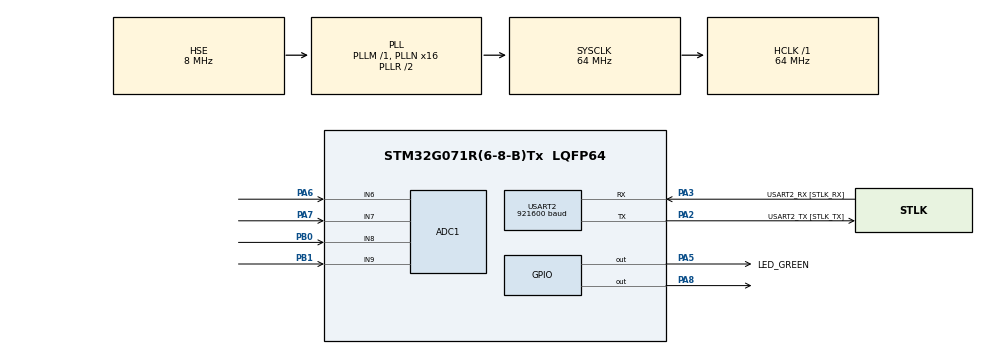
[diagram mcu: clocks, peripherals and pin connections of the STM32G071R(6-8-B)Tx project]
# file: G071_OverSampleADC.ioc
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ADC1.Channel-11\#ChannelRegularConversion=ADC_CHANNEL_9
ADC1.Channel-7\#ChannelRegularConversion=ADC_CHANNEL_6
ADC1.Channel-8\#ChannelRegularConversion=ADC_CHANNEL_7
ADC1.Channel-9\#ChannelRegularConversion=ADC_CHANNEL_8
ADC1.ClockPrescaler=ADC_CLOCK_SYNC_PCLK_DIV2
ADC1.ContinuousConvMode=ENABLE
ADC1.DMAContinuousRequests=ENABLE
ADC1.ExternalTrigConv=ADC_EXTERNALTRIG_T6_TRGO
ADC1.NbrOfConversion=4
ADC1.NbrOfConversionFlag=1
ADC1.Overrun=ADC_OVR_DATA_OVERWRITTEN
ADC1.OversamplingMode=ENABLE
ADC1.Rank-11\#ChannelRegularConversion=4
ADC1.Rank-7\#ChannelRegularConversion=1
ADC1.Rank-8\#ChannelRegularConversion=2
ADC1.Rank-9\#ChannelRegularConversion=3
ADC1.Ratio=ADC_OVERSAMPLING_RATIO_16
ADC1.SamplingTime-11\#ChannelRegularConversion=ADC_SAMPLINGTIME_COMMON_1
ADC1.SamplingTime-7\#ChannelRegularConversion=ADC_SAMPLINGTIME_COMMON_1
ADC1.SamplingTime-8\#ChannelRegularConversion=ADC_SAMPLINGTIME_COMMON_1
ADC1.SamplingTime-9\#ChannelRegularConversion=ADC_SAMPLINGTIME_COMMON_1
ADC1.SamplingTimeCommon1=ADC_SAMPLETIME_12CYCLES_5
ADC1.SamplingTimeCommon2=ADC_SAMPLETIME_12CYCLES_5
ADC1.Sequencer=FULLY_CONFIGURABLE
ADC1.master=1
Dma.ADC1.1.Direction=DMA_PERIPH_TO_MEMORY
Dma.ADC1.1.EventEnable=DISABLE
Dma.ADC1.1.Instance=DMA1_Channel2
Dma.ADC1.1.MemDataAlignment=DMA_MDATAALIGN_HALFWORD
Dma.ADC1.1.MemInc=DMA_MINC_ENABLE
Dma.ADC1.1.Mode=DMA_NORMAL
Dma.ADC1.1.PeriphDataAlignment=DMA_PDATAALIGN_HALFWORD
Dma.ADC1.1.PeriphInc=DMA_PINC_DISABLE
Dma.ADC1.1.Polarity=HAL_DMAMUX_REQ_GEN_RISING
Dma.ADC1.1.Priority=DMA_PRIORITY_LOW
Dma.ADC1.1.RequestNumber=1
Dma.ADC1.1.SignalID=NONE
Dma.ADC1.1.SyncEnable=DISABLE
Dma.ADC1.1.SyncPolarity=HAL_DMAMUX_SYNC_NO_EVENT
Dma.ADC1.1.SyncRequestNumber=1
Dma.ADC1.1.SyncSignalID=NONE
Dma.Request0=USART2_TX
Dma.Request1=ADC1
Dma.USART2_TX.0.Direction=DMA_MEMORY_TO_PERIPH
Dma.USART2_TX.0.EventEnable=DISABLE
Dma.USART2_TX.0.Instance=DMA1_Channel1
Dma.USART2_TX.0.MemDataAlignment=DMA_MDATAALIGN_BYTE
Dma.USART2_TX.0.MemInc=DMA_MINC_ENABLE
Dma.USART2_TX.0.Mode=DMA_NORMAL
Dma.USART2_TX.0.PeriphDataAlignment=DMA_PDATAALIGN_BYTE
Dma.USART2_TX.0.PeriphInc=DMA_PINC_DISABLE
Dma.USART2_TX.0.Polarity=HAL_DMAMUX_REQ_GEN_RISING
Dma.USART2_TX.0.Priority=DMA_PRIORITY_LOW
Dma.USART2_TX.0.RequestNumber=1
Dma.USART2_TX.0.SignalID=NONE
Dma.USART2_TX.0.SyncEnable=DISABLE
Dma.USART2_TX.0.SyncPolarity=HAL_DMAMUX_SYNC_NO_EVENT
Dma.USART2_TX.0.SyncRequestNumber=1
Dma.USART2_TX.0.SyncSignalID=NONE
Mcu.Family=STM32G0
Mcu.Name=STM32G071R(6-8-B)Tx
Mcu.Package=LQFP64
NVIC.ADC1_COMP_IRQn=true\:0\:0\:false\:false\:true\:true\:true
NVIC.DMA1_Channel1_IRQn=true\:0\:0\:false\:false\:true\:false\:true
NVIC.DMA1_Channel2_3_IRQn=true\:0\:0\:false\:false\:true\:false\:true
NVIC.USART2_IRQn=true\:0\:0\:false\:false\:true\:true\:true
PA13.GPIO_Label=TMS
PA13.Mode=Serial_Wire
PA13.Signal=SYS_SWDIO
PA14-BOOT0.GPIO_Label=TCK
PA14-BOOT0.Mode=Serial_Wire
PA14-BOOT0.Signal=SYS_SWCLK
PA2.GPIO_Label=USART2_TX [STLK_TX]
PA2.GPIO_PuPd=GPIO_PULLUP
PA2.Mode=Asynchronous
PA2.Signal=USART2_TX
PA3.GPIO_Label=USART2_RX [STLK_RX]
PA3.GPIO_PuPd=GPIO_PULLUP
PA3.Mode=Asynchronous
PA3.Signal=USART2_RX
PA5.GPIO_Label=LED_GREEN
PA5.GPIO_Speed=GPIO_SPEED_FREQ_HIGH
PA5.Signal=GPIO_Output
PA6.Mode=IN6
PA6.Signal=ADC1_IN6
PA7.Mode=IN7
PA7.Signal=ADC1_IN7
PA8.Signal=GPIO_Output
PB0.Mode=IN8
PB0.Signal=ADC1_IN8
PB1.Mode=IN9
PB1.Signal=ADC1_IN9
PC13.Mode=SYS_WakeUp1
PC13.Signal=SYS_WKUP2
PC14-OSC32_IN\ (PC14).Mode=LSE-External-Oscillator
PC14-OSC32_IN\ (PC14).Signal=RCC_OSC32_IN
PC15-OSC32_OUT\ (PC15).Mode=LSE-External-Oscillator
PC15-OSC32_OUT\ (PC15).Signal=RCC_OSC32_OUT
PF0-OSC_IN\ (PF0).GPIO_Label=MCO
PF0-OSC_IN\ (PF0).Mode=HSE-External-Clock-Source
PF0-OSC_IN\ (PF0).Signal=RCC_OSC_IN
ProjectManager.HeapSize=0x200
ProjectManager.StackSize=0x400
ProjectManager.TargetToolchain=STM32CubeIDE
RCC.ADCFreq_Value=64000000
RCC.AHBFreq_Value=64000000
RCC.CortexFreq_Value=64000000
RCC.EXTERNAL_CLOCK_VALUE=12288000
RCC.HCLKFreq_Value=64000000
RCC.HSE_VALUE=8000000
RCC.HSI_VALUE=16000000
RCC.PLLN=16
RCC.PLLSourceVirtual=RCC_PLLSOURCE_HSE
RCC.SYSCLKFreq_VALUE=64000000
RCC.SYSCLKSource=RCC_SYSCLKSOURCE_PLLCLK
RCC.VCOOutputFreq_Value=128000000
TIM6.Period=999
TIM6.Prescaler=63
TIM6.TIM_MasterOutputTrigger=TIM_TRGO_UPDATE
USART2.BaudRate=921600
USART2.Mode=MODE_TX
USART2.VirtualMode-Asynchronous=VM_ASYNC
VP_SYS_VS_DBSignals.Mode=DisableDeadBatterySignals
VP_TIM6_VS_ClockSourceINT.Mode=Enable_Timer
board=NUCLEO-G071RB

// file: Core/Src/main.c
/* USER CODE BEGIN Header */
/**
  ******************************************************************************
  * @file           : main.c
  * @brief          : Main program body
  ******************************************************************************
  * @attention
  *
  * <h2><center>&copy; Copyright (c) 2020 STMicroelectronics.
  * All rights reserved.</center></h2>
  *
  * This software component is licensed by ST under BSD 3-Clause license,
  * the "License"; You may not use this file except in compliance with the
  * License. You may obtain a copy of the License at:
  *                        opensource.org/licenses/BSD-3-Clause
  *
  ******************************************************************************
  */
/* USER CODE END Header */

#include "main.h"

/* USER CODE BEGIN PM */
#define ADC_MAX_CH		4
#define END_LINE_CODE	0x12
#define TX_DATA_SIZE	(ADC_MAX_CH*4+1)
/* USER CODE END PM */

ADC_HandleTypeDef hadc1;
DMA_HandleTypeDef hdma_adc1;

TIM_HandleTypeDef htim6;

UART_HandleTypeDef huart2;
DMA_HandleTypeDef hdma_usart2_tx;

/* USER CODE BEGIN PV */
uint16_t adc_data[ADC_MAX_CH];
uint8_t tx_data[TX_DATA_SIZE] = "test";
/* USER CODE END PV */

void SystemClock_Config(void);
static void MX_GPIO_Init(void);
static void MX_DMA_Init(void);
static void MX_USART2_UART_Init(void);
static void MX_ADC1_Init(void);
static void MX_TIM6_Init(void);

int main(void)
{

  /* MCU Configuration--------------------------------------------------------*/

  /* Reset of all peripherals, Initializes the Flash interface and the Systick. */
  HAL_Init();

  /* Configure the system clock */
  SystemClock_Config();

  /* Initialize all configured peripherals */
  MX_GPIO_Init();
  MX_DMA_Init();
  MX_USART2_UART_Init();
  MX_ADC1_Init();
  MX_TIM6_Init();
  /* USER CODE BEGIN 2 */

  HAL_ADCEx_Calibration_Start(&hadc1);
  HAL_ADC_Start_DMA(&hadc1,(uint32_t *)adc_data,sizeof(adc_data)/sizeof(uint16_t));

  tx_data[TX_DATA_SIZE-1] = 0x12;
  HAL_TIM_Base_Start_IT(&htim6);
  /* USER CODE END 2 */

  /* Infinite loop */
  while (1)
  {

  }
}

void SystemClock_Config(void)
{
  RCC_OscInitTypeDef RCC_OscInitStruct = {0};
  RCC_ClkInitTypeDef RCC_ClkInitStruct = {0};
  RCC_PeriphCLKInitTypeDef PeriphClkInit = {0};

  /** Configure the main internal regulator output voltage
  */
  HAL_PWREx_ControlVoltageScaling(PWR_REGULATOR_VOLTAGE_SCALE1);
  /** Initializes the CPU, AHB and APB busses clocks
  */
  RCC_OscInitStruct.OscillatorType = RCC_OSCILLATORTYPE_HSE;
  RCC_OscInitStruct.HSEState = RCC_HSE_BYPASS;
  RCC_OscInitStruct.PLL.PLLState = RCC_PLL_ON;
  RCC_OscInitStruct.PLL.PLLSource = RCC_PLLSOURCE_HSE;
  RCC_OscInitStruct.PLL.PLLM = RCC_PLLM_DIV1;
  RCC_OscInitStruct.PLL.PLLN = 16;
  RCC_OscInitStruct.PLL.PLLP = RCC_PLLP_DIV2;
  RCC_OscInitStruct.PLL.PLLQ = RCC_PLLQ_DIV2;
  RCC_OscInitStruct.PLL.PLLR = RCC_PLLR_DIV2;
  if (HAL_RCC_OscConfig(&RCC_OscInitStruct) != HAL_OK)
  {
    Error_Handler();
  }
  /** Initializes the CPU, AHB and APB busses clocks
  */
  RCC_ClkInitStruct.ClockType = RCC_CLOCKTYPE_HCLK|RCC_CLOCKTYPE_SYSCLK
                              |RCC_CLOCKTYPE_PCLK1;
  RCC_ClkInitStruct.SYSCLKSource = RCC_SYSCLKSOURCE_PLLCLK;
  RCC_ClkInitStruct.AHBCLKDivider = RCC_SYSCLK_DIV1;
  RCC_ClkInitStruct.APB1CLKDivider = RCC_HCLK_DIV1;

  if (HAL_RCC_ClockConfig(&RCC_ClkInitStruct, FLASH_LATENCY_2) != HAL_OK)
  {
    Error_Handler();
  }
  /** Initializes the peripherals clocks
  */
  PeriphClkInit.PeriphClockSelection = RCC_PERIPHCLK_USART2|RCC_PERIPHCLK_ADC;
  PeriphClkInit.Usart2ClockSelection = RCC_USART2CLKSOURCE_PCLK1;
  PeriphClkInit.AdcClockSelection = RCC_ADCCLKSOURCE_SYSCLK;
  if (HAL_RCCEx_PeriphCLKConfig(&PeriphClkInit) != HAL_OK)
  {
    Error_Handler();
  }
}

static void MX_ADC1_Init(void)
{

  ADC_AnalogWDGConfTypeDef AnalogWDGConfig = {0};
  ADC_ChannelConfTypeDef sConfig = {0};

  /** Configure the global features of the ADC (Clock, Resolution, Data Alignment and number of conversion)
  */
  hadc1.Instance = ADC1;
  hadc1.Init.ClockPrescaler = ADC_CLOCK_SYNC_PCLK_DIV2;
  hadc1.Init.Resolution = ADC_RESOLUTION_12B;
  hadc1.Init.DataAlign = ADC_DATAALIGN_RIGHT;
  hadc1.Init.ScanConvMode = ADC_SCAN_ENABLE;
  hadc1.Init.EOCSelection = ADC_EOC_SINGLE_CONV;
  hadc1.Init.LowPowerAutoWait = DISABLE;
  hadc1.Init.LowPowerAutoPowerOff = DISABLE;
  hadc1.Init.ContinuousConvMode = ENABLE;
  hadc1.Init.NbrOfConversion = 4;
  hadc1.Init.DiscontinuousConvMode = DISABLE;
  hadc1.Init.ExternalTrigConv = ADC_EXTERNALTRIG_T6_TRGO;
  hadc1.Init.ExternalTrigConvEdge = ADC_EXTERNALTRIGCONVEDGE_RISING;
  hadc1.Init.DMAContinuousRequests = ENABLE;
  hadc1.Init.Overrun = ADC_OVR_DATA_OVERWRITTEN;
  hadc1.Init.SamplingTimeCommon1 = ADC_SAMPLETIME_12CYCLES_5;
  hadc1.Init.SamplingTimeCommon2 = ADC_SAMPLETIME_12CYCLES_5;
  hadc1.Init.OversamplingMode = ENABLE;
  hadc1.Init.Oversampling.Ratio = ADC_OVERSAMPLING_RATIO_16;
  hadc1.Init.Oversampling.RightBitShift = ADC_RIGHTBITSHIFT_NONE;
  hadc1.Init.Oversampling.TriggeredMode = ADC_TRIGGEREDMODE_SINGLE_TRIGGER;
  hadc1.Init.TriggerFrequencyMode = ADC_TRIGGER_FREQ_HIGH;
  if (HAL_ADC_Init(&hadc1) != HAL_OK)
  {
    Error_Handler();
  }
  /** Configure Analog WatchDog 2
  */
  AnalogWDGConfig.WatchdogMode = ADC_ANALOGWATCHDOG_SINGLE_REG;
  if (HAL_ADC_AnalogWDGConfig(&hadc1, &AnalogWDGConfig) != HAL_OK)
  {
    Error_Handler();
  }
  /** Configure Regular Channel
  */
  sConfig.Channel = ADC_CHANNEL_6;
  sConfig.Rank = ADC_REGULAR_RANK_1;
  sConfig.SamplingTime = ADC_SAMPLINGTIME_COMMON_1;
  if (HAL_ADC_ConfigChannel(&hadc1, &sConfig) != HAL_OK)
  {
    Error_Handler();
  }
  /** Configure Regular Channel
  */
  sConfig.Channel = ADC_CHANNEL_7;
  sConfig.Rank = ADC_REGULAR_RANK_2;
  if (HAL_ADC_ConfigChannel(&hadc1, &sConfig) != HAL_OK)
  {
    Error_Handler();
  }
  /** Configure Regular Channel
  */
  sConfig.Channel = ADC_CHANNEL_8;
  sConfig.Rank = ADC_REGULAR_RANK_3;
  if (HAL_ADC_ConfigChannel(&hadc1, &sConfig) != HAL_OK)
  {
    Error_Handler();
  }
  /** Configure Regular Channel
  */
  sConfig.Channel = ADC_CHANNEL_9;
  sConfig.Rank = ADC_REGULAR_RANK_4;
  if (HAL_ADC_ConfigChannel(&hadc1, &sConfig) != HAL_OK)
  {
    Error_Handler();
  }

}

static void MX_TIM6_Init(void)
{

  TIM_MasterConfigTypeDef sMasterConfig = {0};

  htim6.Instance = TIM6;
  htim6.Init.Prescaler = 63;
  htim6.Init.CounterMode = TIM_COUNTERMODE_UP;
  htim6.Init.Period = 999;
  htim6.Init.AutoReloadPreload = TIM_AUTORELOAD_PRELOAD_DISABLE;
  if (HAL_TIM_Base_Init(&htim6) != HAL_OK)
  {
    Error_Handler();
  }
  sMasterConfig.MasterOutputTrigger = TIM_TRGO_UPDATE;
  sMasterConfig.MasterSlaveMode = TIM_MASTERSLAVEMODE_DISABLE;
  if (HAL_TIMEx_MasterConfigSynchronization(&htim6, &sMasterConfig) != HAL_OK)
  {
    Error_Handler();
  }

}

static void MX_USART2_UART_Init(void)
{

  huart2.Instance = USART2;
  huart2.Init.BaudRate = 921600;
  huart2.Init.WordLength = UART_WORDLENGTH_8B;
  huart2.Init.StopBits = UART_STOPBITS_1;
  huart2.Init.Parity = UART_PARITY_NONE;
  huart2.Init.Mode = UART_MODE_TX;
  huart2.Init.HwFlowCtl = UART_HWCONTROL_NONE;
  huart2.Init.OverSampling = UART_OVERSAMPLING_16;
  huart2.Init.OneBitSampling = UART_ONE_BIT_SAMPLE_DISABLE;
  huart2.Init.ClockPrescaler = UART_PRESCALER_DIV1;
  huart2.AdvancedInit.AdvFeatureInit = UART_ADVFEATURE_NO_INIT;
  if (HAL_UART_Init(&huart2) != HAL_OK)
  {
    Error_Handler();
  }
  if (HAL_UARTEx_SetTxFifoThreshold(&huart2, UART_TXFIFO_THRESHOLD_1_8) != HAL_OK)
  {
    Error_Handler();
  }
  if (HAL_UARTEx_SetRxFifoThreshold(&huart2, UART_RXFIFO_THRESHOLD_1_8) != HAL_OK)
  {
    Error_Handler();
  }
  if (HAL_UARTEx_DisableFifoMode(&huart2) != HAL_OK)
  {
    Error_Handler();
  }

}

static void MX_DMA_Init(void)
{

  /* DMA controller clock enable */
  __HAL_RCC_DMA1_CLK_ENABLE();

  /* DMA interrupt init */
  /* DMA1_Channel1_IRQn interrupt configuration */
  HAL_NVIC_SetPriority(DMA1_Channel1_IRQn, 0, 0);
  HAL_NVIC_EnableIRQ(DMA1_Channel1_IRQn);
  /* DMA1_Channel2_3_IRQn interrupt configuration */
  HAL_NVIC_SetPriority(DMA1_Channel2_3_IRQn, 0, 0);
  HAL_NVIC_EnableIRQ(DMA1_Channel2_3_IRQn);

}

static void MX_GPIO_Init(void)
{
  GPIO_InitTypeDef GPIO_InitStruct = {0};

  /* GPIO Ports Clock Enable */
  __HAL_RCC_GPIOC_CLK_ENABLE();
  __HAL_RCC_GPIOF_CLK_ENABLE();
  __HAL_RCC_GPIOA_CLK_ENABLE();
  __HAL_RCC_GPIOB_CLK_ENABLE();

  /*Configure GPIO pin Output Level */
  HAL_GPIO_WritePin(GPIOA, LED_GREEN_Pin|GPIO_PIN_8, GPIO_PIN_RESET);

  /*Configure GPIO pin : LED_GREEN_Pin */
  GPIO_InitStruct.Pin = LED_GREEN_Pin;
  GPIO_InitStruct.Mode = GPIO_MODE_OUTPUT_PP;
  GPIO_InitStruct.Pull = GPIO_NOPULL;
  GPIO_InitStruct.Speed = GPIO_SPEED_FREQ_HIGH;
  HAL_GPIO_Init(LED_GREEN_GPIO_Port, &GPIO_InitStruct);

  /*Configure GPIO pin : PA8 */
  GPIO_InitStruct.Pin = GPIO_PIN_8;
  GPIO_InitStruct.Mode = GPIO_MODE_OUTPUT_PP;
  GPIO_InitStruct.Pull = GPIO_NOPULL;
  GPIO_InitStruct.Speed = GPIO_SPEED_FREQ_LOW;
  HAL_GPIO_Init(GPIOA, &GPIO_InitStruct);

}

/* USER CODE BEGIN 4 */
void HAL_ADC_ConvCpltCallback(ADC_HandleTypeDef* hadc) {
	static int32_t cnt = 0;
    HAL_ADC_Stop_DMA(&hadc1);
    int32_t *p;

    if(cnt &0x0001) {
    	 HAL_GPIO_WritePin(GPIOA, GPIO_PIN_8, GPIO_PIN_RESET);
    }
    else {
    	HAL_GPIO_WritePin(GPIOA, GPIO_PIN_8, GPIO_PIN_SET);
    }

    cnt++;
#if 1
    p = (int32_t*)tx_data;
    for(int16_t i=0; i < ADC_MAX_CH; i++) {
    	*p++ = (int32_t)adc_data[i];
    }
#endif
    HAL_UART_Transmit_DMA(&huart2,tx_data,TX_DATA_SIZE);
    //HAL_UART_Transmit_DMA(&huart2,tx_data,1);
    HAL_ADC_Start_DMA(&hadc1,(uint32_t *)adc_data,sizeof(adc_data)/sizeof(uint16_t));
   // HAL_ADC_Start_DMA(&hadc1,adc_data,sizeof(adc_data)/sizeof(uint16_t));

}
/* USER CODE END 4 */

void Error_Handler(void)
{
}

/************************ (C) COPYRIGHT STMicroelectronics *****END OF FILE****/
